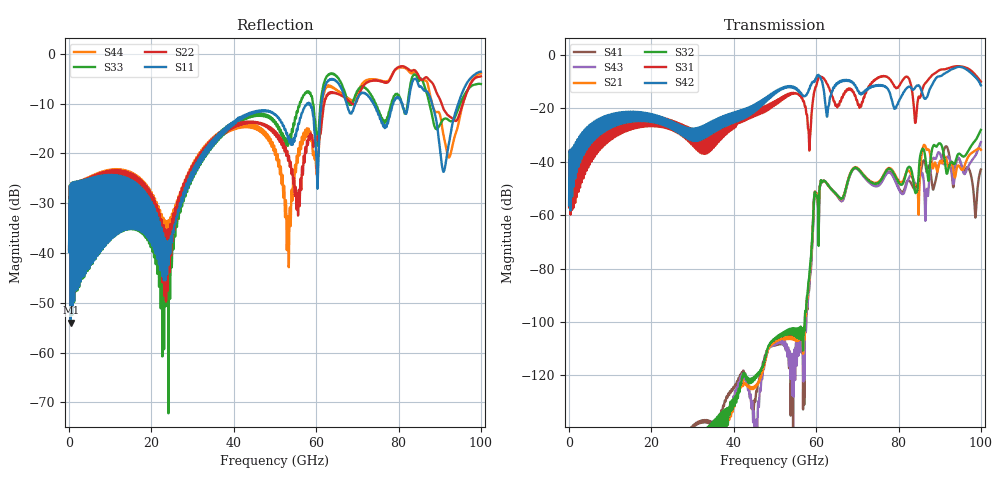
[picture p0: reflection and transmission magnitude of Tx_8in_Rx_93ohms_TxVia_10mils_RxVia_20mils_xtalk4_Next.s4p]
! Info: Touchstone file created by Circ.  Input file=Tx_8in_Rx_93ohms_TxVia_10mils_RxVia_20mils.circ
# Hz S RI R 50
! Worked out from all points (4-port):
!   10000 points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, 10 MHz to 100 GHz, reference 50 ohm
!   strongest paths, dB at 10 MHz, 25.01 GHz, 50.01 GHz, 75.01 GHz, 100 GHz:
!     S42: -56.4, -25.0, -13.8, -11.4, -11.4
!     S31: -57.1, -24.6, -17.5, -8.6, -10.0
!     S32: -, -150.1, -106.0, -48.0, -28.1
!     S21: -, -157.5, -107.2, -47.8, -35.5
!     S43: -155.3, -153.8, -107.6, -49.1, -32.7
!     S41: -154.6, -152.5, -108.2, -48.8, -42.9
!   lowest |S11| = -54.0 dB at 400 MHz (marker M1), VSWR 1.00, Z = 49.8 + j0.0978 ohm
!   |S11| at or under -10 dB: start of sweep to 57.75 GHz; 73.84 GHz to 78.72 GHz (4.877 GHz wide, 6.39 % of centre); 88.14 GHz to 94.52 GHz (6.378 GHz wide, 6.98 % of centre)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
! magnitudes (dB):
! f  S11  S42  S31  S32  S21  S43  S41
! 10 MHz  -39.8  -56.4  -57.1  -  -  -155.3  -154.6
! 400 MHz  -54.0  -45.5  -45.6  -  -  -  -
! 23.78 GHz  -44.4  -24.1  -24.0  -151.9  -158.6  -155.1  -158.1
! 57.99 GHz  -10.2  -14.1  -27.1  -87.9  -88.9  -91.1  -91.4
! 61.54 GHz  -8.8  -10.5  -8.4  -47.5  -47.5  -47.5  -47.5
! 90.97 GHz  -23.7  -7.1  -5.4  -37.0  -38.9  -40.9  -35.8
! 100 GHz  -3.6  -11.4  -10.0  -28.1  -35.5  -32.7  -42.9
